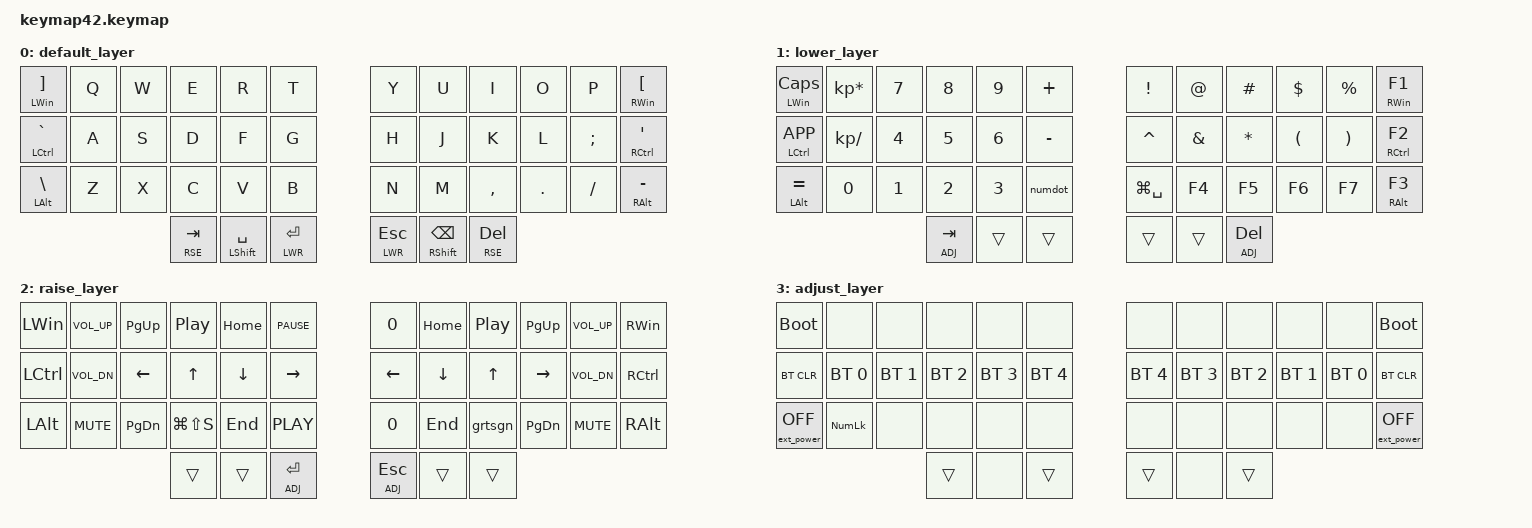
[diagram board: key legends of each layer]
/*
 * Copyright (c) 2020 The ZMK Contributors
 *
 * SPDX-License-Identifier: MIT
 */ 

#include <behaviors.dtsi>
#include <dt-bindings/zmk/keys.h>
#include <dt-bindings/zmk/bt.h>

#include <dt-bindings/zmk/ext_power.h>

#define DEF 0
#define LWR 1
#define RSE 2
#define ADJ 3

&lt { quick_tap_ms = <220>; };
&mt { quick_tap_ms = <220>; };

/ {
    macros {
        numdot: numdot {
            label = "ZM_numdot";
            compatible = "zmk,behavior-macro";
            #binding-cells = <0>;
            wait-ms = <40>;
            tap-ms = <40>;
            bindings
                = <&macro_press   &kp LALT>    
                , <&macro_tap     &kp KP_N4 &kp KP_N6>    
                , <&macro_release &kp LALT>
                ;
        };
        grtsgn: grtsgn {
            label = "ZM_grtsgn";
            compatible = "zmk,behavior-macro";
            #binding-cells = <0>;
            wait-ms = <40>;
            tap-ms = <40>;
            bindings
                = <&macro_press   &kp LALT>    
                , <&macro_tap     &kp KP_N6 &kp KP_N2>    
                , <&macro_release &kp LALT>
                ;
        };
    };
};
/ {
        keymap {
                compatible = "zmk,keymap";

                default_layer {
                        bindings = <
  &mt LWIN RBKT   &kp Q &kp W &kp E &kp R &kp T               &kp Y  &kp U  &kp I     &kp O   &kp P    &mt RWIN LBKT 
  &mt LCTRL GRAVE &kp A &kp S &kp D &kp F &kp G               &kp H  &kp J  &kp K     &kp L   &kp SEMI &mt RCTRL SQT
  &mt LALT  BSLH  &kp Z &kp X &kp C &kp V &kp B               &kp N  &kp M  &kp COMMA &kp DOT &kp FSLH &mt RALT MINUS
        &lt RSE TAB &mt LSHFT SPACE &lt LWR RET               &lt LWR ESC &mt RSHFT BSPC &lt RSE DEL
                        >;
                };
                lower_layer {
                        bindings = <
 &mt LWIN CAPS   &kp KP_MULTIPLY  &kp N7 &kp N8      &kp N9  &kp PLUS      &kp EXCL      &kp AT    &kp HASH   &kp DLLR  &kp PRCNT &mt RWIN F1  
 &mt LCTRL K_APP &kp KP_SLASH     &kp N4 &kp N5      &kp N6  &kp MINUS     &kp CARET     &kp AMPS  &kp STAR   &kp LPAR  &kp RPAR  &mt RCTRL F2
 &mt LALT EQUAL  &kp N0           &kp N1 &kp N2      &kp N3  &numdot       &kp LG(SPACE) &kp F4    &kp F5     &kp F6    &kp F7    &mt RALT F3
                                         &lt ADJ TAB &trans  &trans        &trans        &trans    &lt ADJ DEL
                        >;
                };
                raise_layer {
                        bindings = <
&kp LWIN   &kp C_VOL_UP   &kp PG_UP  &kp C_PP       &kp HOME &kp C_PAUSE                                 &kp N0      &kp HOME  &kp C_PP    &kp PG_UP  &kp C_VOL_UP  &kp RWIN
&kp LCTRL  &kp C_VOL_DN   &kp LEFT   &kp UP         &kp DOWN &kp RIGHT                                   &kp LEFT    &kp DOWN  &kp UP      &kp RIGHT  &kp C_VOL_DN  &kp RCTRL 
&kp LALT   &kp C_MUTE     &kp PG_DN  &kp LG(LS(S))  &kp END  &kp C_PLAY                                  &kp N0      &kp END   &grtsgn      &kp PG_DN  &kp C_MUTE    &kp RALT
                          &trans     &trans         &lt ADJ RET                                          &lt ADJ ESC &trans    &trans
                        >; 
                };
                                adjust_layer {
                        bindings = <
&bootloader           &none         &none        &none        &none        &none                             &none        &none        &none        &none        &none         &bootloader
&bt BT_CLR            &bt BT_SEL 0  &bt BT_SEL 1 &bt BT_SEL 2 &bt BT_SEL 3 &bt BT_SEL 4                      &bt BT_SEL 4 &bt BT_SEL 3 &bt BT_SEL 2 &bt BT_SEL 1 &bt BT_SEL 0  &bt BT_CLR
&ext_power EP_OFF     &kp KP_NUM    &none        &none        &none        &none                             &none        &none        &none        &none        &none         &ext_power EP_OFF 
                                                 &trans       &none        &trans                            &trans       &none        &trans
                        >;
                };
        };
};
